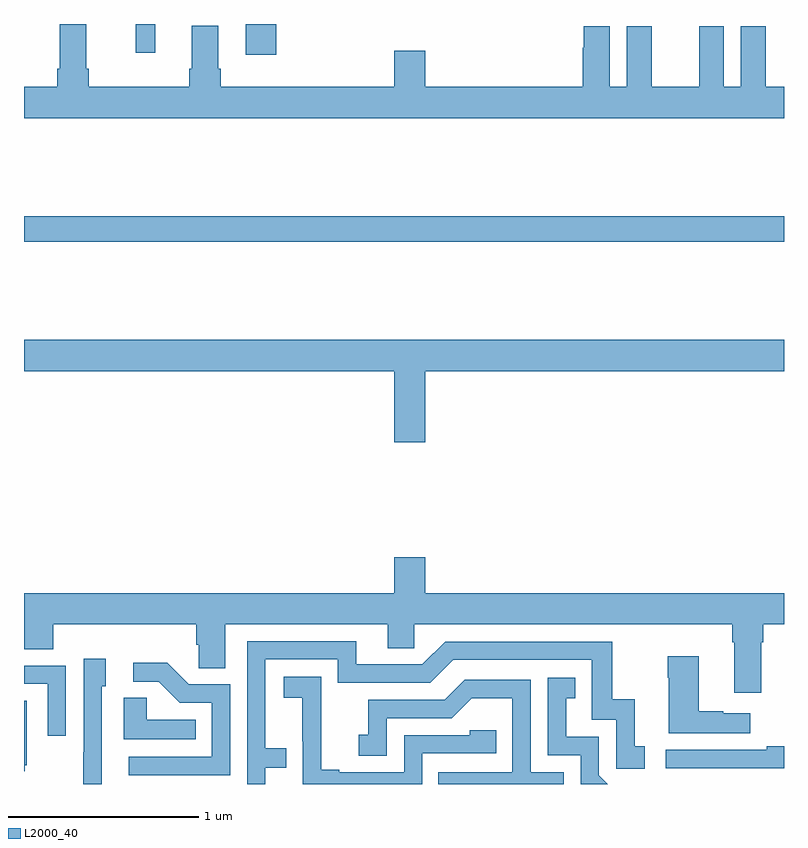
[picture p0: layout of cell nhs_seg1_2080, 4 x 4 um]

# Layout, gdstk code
import gdstk
lib = gdstk.Library(unit=1e-6, precision=1e-09)
def R(c, l, rs):  # rectangles x0, y0, x1, y1
    for r in rs: c.add(gdstk.rectangle(r[:2], r[2:], *l))
def P(c, l, *ps):  # polygons
    for p in ps: c.add(gdstk.Polygon(p, *l))
L2000_40 = (2000, 40)

nhs_seg1_2080 = lib.new_cell('nhs_seg1_2080')
R(nhs_seg1_2080, L2000_40, [(223,579.052,227,579.188), (224.168,580.038,224.327,580.199), (223.588,580.047,223.691,580.199)])
P(nhs_seg1_2080, L2000_40, [(227,579.868),(226.903,579.868),(226.903,580.186),(226.772,580.186),(226.772,579.868),(226.684,579.868),(226.684,580.186),(226.553,580.186),(226.553,579.868),(226.303,579.868),(226.303,580.186),(226.172,580.186),(226.172,579.868),(226.084,579.868),(226.084,580.186),(225.947,580.186),(225.947,580.073),(225.941,580.073),(225.941,579.868),(225.112,579.868),(225.112,580.057),(224.948,580.057),(224.948,579.868),(224.036,579.868),(224.036,579.964),(224.023,579.964),(224.023,580.189),(223.883,580.189),(223.883,579.964),(223.871,579.964),(223.871,579.868),(223.34,579.868),(223.34,579.964),(223.327,579.964),(223.327,580.199),(223.187,580.199),(223.187,579.964),(223.175,579.964),(223.175,579.868),(223,579.868),(223,579.704),(227,579.704)],
  [(225.112,578.372),(227,578.372),(227,578.536),(223,578.536),(223,578.372),(224.948,578.372),(224.948,577.998),(225.112,577.998)],
  [(226.879,576.944),(226.892,576.944),(226.892,577.04),(227,577.04),(227,577.204),(225.112,577.204),(225.112,577.393),(224.948,577.393),(224.948,577.204),(223,577.204),(223,576.907),(223.154,576.907),(223.154,577.04),(223.907,577.04),(223.907,576.931),(223.92,576.931),(223.92,576.808),(224.059,576.808),(224.059,577.04),(224.915,577.04),(224.915,576.913),(225.054,576.913),(225.054,577.04),(226.727,577.04),(226.727,576.944),(226.739,576.944),(226.739,576.678),(226.879,576.678)],
  [(224.271,576.285),(224.381,576.285),(224.381,576.386),(224.271,576.386),(224.271,576.855),(224.652,576.855),(224.652,576.732),(225.138,576.732),(225.258,576.852),(225.987,576.852),(225.987,576.537),(226.116,576.537),(226.116,576.279),(226.267,576.279),(226.267,576.399),(226.214,576.399),(226.214,576.646),(226.096,576.646),(226.096,576.948),(225.216,576.948),(225.096,576.828),(224.749,576.828),(224.749,576.951),(224.175,576.951),(224.175,576.199),(224.271,576.199)],
  [(226.822,576.571),(226.679,576.571),(226.679,576.581),(226.552,576.581),(226.552,576.871),(226.387,576.871),(226.387,576.758),(226.394,576.758),(226.394,576.467),(226.822,576.467)],
  [(223.41,576.714),(223.429,576.714),(223.429,576.859),(223.314,576.859),(223.314,576.365),(223.312,576.365),(223.312,576.199),(223.41,576.199)],
  [(224.085,576.723),(223.866,576.723),(223.753,576.836),(223.575,576.836),(223.575,576.738),(223.709,576.738),(223.82,576.627),(223.989,576.627),(223.989,576.342),(223.551,576.342),(223.551,576.246),(224.085,576.246)],
  [(223.221,576.822),(223,576.822),(223,576.726),(223.125,576.726),(223.125,576.453),(223.221,576.453)],
  [(225.096,576.36),(225.485,576.36),(225.485,576.483),(225.345,576.483),(225.345,576.456),(225,576.456),(225,576.261),(224.659,576.261),(224.659,576.274),(224.564,576.274),(224.564,576.557),(224.565,576.557),(224.565,576.763),(224.367,576.763),(224.367,576.653),(224.465,576.653),(224.465,576.425),(224.466,576.425),(224.466,576.199),(225.096,576.199)],
  [(226.026,576.246),(226.026,576.447),(225.853,576.447),(225.853,576.651),(225.902,576.651),(225.902,576.757),(225.756,576.757),(225.756,576.351),(225.93,576.351),(225.93,576.199),(226.073,576.199)],
  [(225.84,576.261),(225.666,576.261),(225.666,576.747),(225.32,576.747),(225.215,576.642),(224.812,576.642),(224.812,576.457),(224.763,576.457),(224.763,576.348),(224.91,576.348),(224.91,576.546),(225.252,576.546),(225.356,576.65),(225.57,576.65),(225.57,576.261),(225.181,576.261),(225.181,576.199),(225.84,576.199)],
  [(223.904,576.538),(223.647,576.538),(223.647,576.653),(223.526,576.653),(223.526,576.434),(223.904,576.434)],
  [(223.004,576.297),(223.015,576.297),(223.015,576.637),(223,576.637),(223,576.266),(223.004,576.266)],
  [(227,576.398),(226.909,576.398),(226.909,576.378),(226.377,576.378),(226.377,576.282),(227,576.282)])

lib.write_gds('nhs_seg1_2080.gds')
